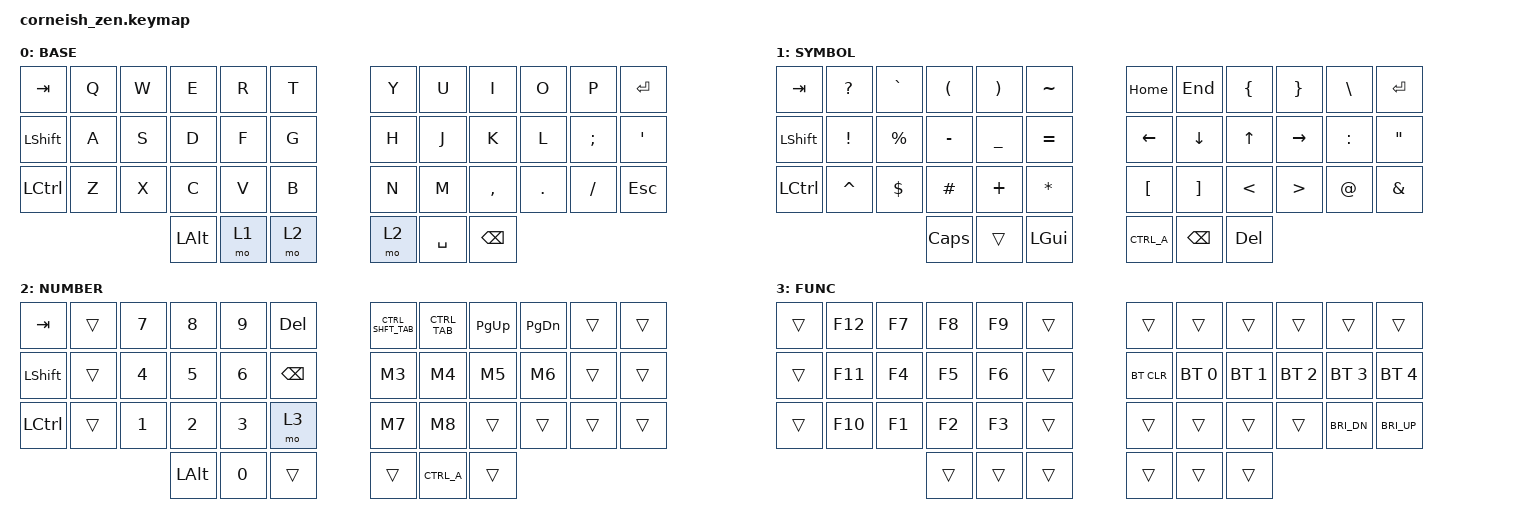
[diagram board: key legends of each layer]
#include <behaviors.dtsi>
#include <dt-bindings/zmk/keys.h>
#include <dt-bindings/zmk/bt.h>

/ {
  chosen {
    zmk,matrix_transform = &default_transform;
    //zmk,matrix_transform = &five_column_transform;
  };
};

/ {
    macros {

        CTRL_A: CTRL_A {
            label = "CTRL_A";
            compatible = "zmk,behavior-macro";
            #binding-cells = <0>;
            bindings = 
              <&macro_press &kp LCTRL>
              , <&macro_tap &kp A>
              , <&macro_release &kp LCTRL>
              ;
        };

        M3: M3 {
            label = "M3";
            compatible = "zmk,behavior-macro";
            #binding-cells = <0>;
            bindings = 
              <&macro_press &kp LCTRL>
              , <&macro_tap &kp A>
              , <&macro_release &kp LCTRL>
              , <&macro_tap &kp F>
              ;
        };

        M4: M4 {
            label = "M4";
            compatible = "zmk,behavior-macro";
            #binding-cells = <0>;
            bindings = 
              <&macro_press &kp LCTRL>
              , <&macro_tap &kp A>
              , <&macro_release &kp LCTRL>
              , <&macro_tap &kp N>
              ;
        };

        M5: M5 {
            label = "M5";
            compatible = "zmk,behavior-macro";
            #binding-cells = <0>;
            bindings = 
              <&macro_press &kp LCTRL>
              , <&macro_tap &kp A>
              , <&macro_release &kp LCTRL>
              , <&macro_tap &kp K>
              ;
        };

        M6: M6 {
            label = "M6";
            compatible = "zmk,behavior-macro";
            #binding-cells = <0>;
            bindings = 
              <&macro_press &kp LCTRL>
              , <&macro_tap &kp A>
              , <&macro_release &kp LCTRL>
              , <&macro_tap &kp L>
              ;
        };

        M7: M7 {
            label = "M7";
            compatible = "zmk,behavior-macro";
            #binding-cells = <0>;
            bindings = 
              <&macro_press &kp LCTRL>
              , <&macro_tap &kp A>
              , <&macro_release &kp LCTRL>
              , <&macro_tap &kp N>
              ;
        };

        M8: M8 {
            label = "M8";
            compatible = "zmk,behavior-macro";
            #binding-cells = <0>;
            bindings = 
              <&macro_press &kp LCTRL>
              , <&macro_tap &kp A>
              , <&macro_release &kp LCTRL>
              , <&macro_tap &kp M>
              ;
        };

        CTRL_TAB: CTRL_TAB {
            label = "CTRL_TAB";
            compatible = "zmk,behavior-macro";
            #binding-cells = <0>;
            bindings = 
              <&macro_press &kp LCTRL>
              , <&macro_tap &kp TAB>
              , <&macro_release &kp LCTRL>
              ;
        };
        CTRL_SHFT_TAB: CTRL_SHFT_TAB {
            label = "CTRL_SHFT_TAB";
            compatible = "zmk,behavior-macro";
            #binding-cells = <0>;
            bindings = 
              <&macro_press &kp LCTRL>
              , <&macro_press &kp LSHFT>
              , <&macro_tap &kp TAB>
              , <&macro_release &kp LSHFT>
              , <&macro_release &kp LCTRL>
              ;
        };
    };
};


/ {
        keymap {
                compatible = "zmk,keymap";

                default_layer {
                        label = "BASE";
// -----------------------------------------------------------------------------------------
// |  TAB |  Q  |  W  |  E  |  R  |  T  | x |  Y  |  U   |  I   |  O  |  P  | ENT |
// | SHFT |  A  |  S  |  D  |  F  |  G  | x |  H  |  J   |  K   |  L  |  ;  |  '  |
// | CTRL |  Z  |  X  |  C  |  V  |  B  | x |  N  |  M   |  ,   |  .  |  /  | ESC |
//                    | ALT | LWR | RSE | x | RSE | SPC  | BKSP |
                        bindings = <
   &kp TAB   &kp Q &kp W &kp E &kp R &kp T    &kp Y &kp U  &kp I     &kp O   &kp P    &kp RET
   &kp LSHFT &kp A &kp S &kp D &kp F &kp G    &kp H &kp J  &kp K     &kp L   &kp SEMI &kp SQT
   &kp LCTRL &kp Z &kp X &kp C &kp V &kp B    &kp N &kp M  &kp COMMA &kp DOT &kp FSLH &kp ESC
                      &kp LALT &mo 1 &mo 2    &mo 2 &kp SPACE &kp BSPC
                        >;
                };

                lower_layer {
                        label = "SYMBOL";
// -----------------------------------------------------------------------------------------
// |  TAB |  ?  |  `  |  (  |  )  |  ~  | x | HOME   | END  | {   |  }   | \|  | ENT |
// | SHFT |  !  |  %  |  -  |  _  |  =  | x | LEFT   | DOWN | UP  | RGHT |  :  |  "  |
// | CTRL |  ^  |  $  |  #  |  +  |  *  | x |  [     |  ]   |  <  |  >   |  @  |  &  |
//                    | CAP |     | GUI | x | CTRL-A | BKSP | DEL |
                        bindings = <
   &kp  TAB  &kp QMARK &kp GRAVE &kp LPAR  &kp RPAR  &kp TILDE    &kp HOME &kp END  &kp LBRC &kp RBRC  &kp BSLH  &kp RET
   &kp LSHFT &kp EXCL  &kp PRCNT &kp MINUS &kp UNDER &kp EQUAL    &kp LEFT &kp DOWN &kp UP   &kp RIGHT &kp COLON &kp DQT
   &kp LCTRL &kp CARET &kp DLLR  &kp POUND &kp PLUS  &kp STAR     &kp LBKT &kp RBKT &kp LT   &kp GT    &kp AT    &kp AMPS
             	                   &kp CAPS  &trans    &kp LGUI     &CTRL_A  &kp BSPC &kp DEL
                        >;
                };

                raise_layer {
                        label = "NUMBER";
// -----------------------------------------------------------------------------------------
// |  TAB |    |  7  |  8  |  9  | DEL  | x | CTRL_TAB | CTRL_SHFT_TAB | PGUP | PGDN | BrtU | VolU |
// | SHFT |    |  4  |  5  |  6  | BKSP | x | LEFT     | DOWN          | UP   | RGHT | BrtD | VolD |
// | CTRL |    |  1  |  2  |  3  | MOD  | x |          |               |      |      |      | Mute |
//                   | ALT |  0  |      | x |          |               |      |
                        bindings = <
   &kp TAB   &trans &kp N7  &kp N8  &kp N9  &kp DEL      &CTRL_SHFT_TAB &CTRL_TAB &kp PG_UP &kp PG_DN &trans       &trans
   &kp LSHFT &trans &kp N4  &kp N5  &kp N6  &kp BSPC     &M3            &M4       &M5       &M6       &trans       &trans
   &kp LCTRL &trans &kp N1  &kp N2  &kp N3  &mo 3        &M7            &M8       &trans    &trans    &trans       &trans
                      	    &kp LALT &kp N0 &trans       &trans         &CTRL_A   &trans
                        >;
                };

                func_layer {
                        label = "FUNC";
// -----------------------------------------------------------------------------------------
// |     | F12 | F7  | F8  | F9  |     | x |       |      |      |     |      |      |
// |     | F11 | F4  | F5  | F6  |     | x | BTCLR | BT1  | BT2  | BT3 | BT4  | BT5  |
// |     | F10 | F1  | F2  | F3  |     | x |       |      |      |     | BrtD | BrtU |
//                   |     |     |     | x |       |      |
                        bindings = <
   &trans &kp F12 &kp F7  &kp F8  &kp F9  &trans    &trans     &trans       &trans       &trans       &trans       &trans
   &trans &kp F11 &kp F4  &kp F5  &kp F6  &trans    &bt BT_CLR &bt BT_SEL 0 &bt BT_SEL 1 &bt BT_SEL 2 &bt BT_SEL 3 &bt BT_SEL 4
   &trans &kp F10 &kp F1  &kp F2  &kp F3  &trans    &trans     &trans       &trans       &trans       &kp C_BRI_DN &kp C_BRI_UP
                      	  &trans  &trans  &trans    &trans     &trans       &trans
                        >;
                };

        };
};

